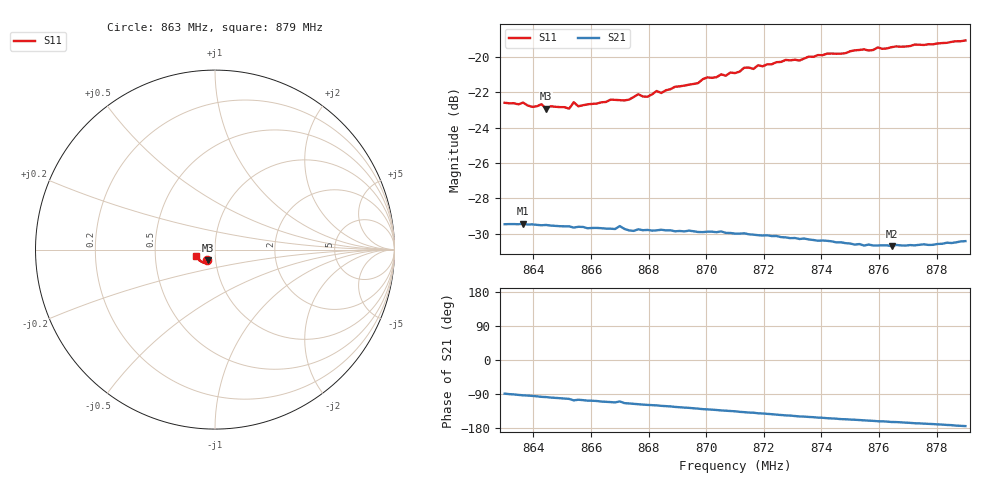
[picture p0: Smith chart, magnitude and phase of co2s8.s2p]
# HZ S RI R 50
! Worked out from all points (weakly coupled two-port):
!   101 points, 863 MHz to 879 MHz, reference 50 ohm
!   highest |S21| = -29.44 dB at 863.64 MHz (marker M1); lowest = -30.7 dB at 876.44 MHz (marker M2)
!   lowest |S11| = -22.9 dB at 864.44 MHz (marker M3), VSWR 1.15, Z = 45.9 - j5.49 ohm
!   |S11| at or under -10 dB: start of sweep to end of sweep
!   S12 and S22 are empty: the file has one direction only
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8.63e8  -0.0434 -0.0602  0.000713 -0.0336  0 0  0 0
8.6364e8  -0.0419 -0.0613  -0.00187 -0.0337  0 0  0 0
8.6396e8  -0.0406 -0.0597  -0.00279 -0.0335  0 0  0 0
8.6428e8  -0.0397 -0.0618  -0.00417 -0.0331  0 0  0 0
8.6444e8  -0.0394 -0.0595  -0.00456 -0.0332  0 0  0 0
8.6524e8  -0.0392 -0.0597  -0.00725 -0.0324  0 0  0 0
8.654e8  -0.0415 -0.0618  -0.00932 -0.0316  0 0  0 0
8.6572e8  -0.0388 -0.0618  -0.00902 -0.0318  0 0  0 0
8.6684e8  -0.0398 -0.0642  -0.0121 -0.0302  0 0  0 0
8.67e8  -0.0374 -0.0656  -0.011 -0.0314  0 0  0 0
8.6732e8  -0.0397 -0.0645  -0.0135 -0.0294  0 0  0 0
8.6764e8  -0.0411 -0.0668  -0.0146 -0.0291  0 0  0 0
8.6796e8  -0.0404 -0.0657  -0.0154 -0.0285  0 0  0 0
8.6828e8  -0.0415 -0.0685  -0.016 -0.0281  0 0  0 0
8.6844e8  -0.0417 -0.0672  -0.0167 -0.0278  0 0  0 0
8.7004e8  -0.0493 -0.0724  -0.0207 -0.0244  0 0  0 0
8.71e8  -0.0543 -0.0718  -0.0225 -0.0222  0 0  0 0
8.7132e8  -0.057 -0.0737  -0.0234 -0.0214  0 0  0 0
8.7164e8  -0.0573 -0.0726  -0.0238 -0.0205  0 0  0 0
8.7372e8  -0.0727 -0.0688  -0.0265 -0.0147  0 0  0 0
8.7644e8  -0.092 -0.0538  -0.028 -0.00823  0 0  0 0
8.79e8  -0.1055 -0.0356  -0.03 -0.00294  0 0  0 0
